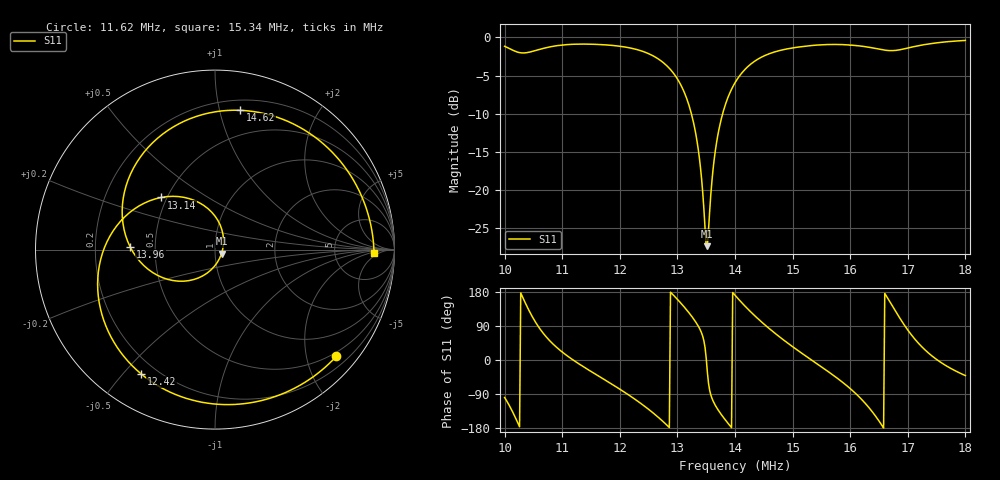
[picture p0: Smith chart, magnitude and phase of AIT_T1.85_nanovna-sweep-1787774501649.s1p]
! NanoVNA Web complex sweep
! Processing: original sample grid, no browser smoothing
# Hz S RI R 50
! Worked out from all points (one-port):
!   401 points, 10 MHz to 18 MHz, reference 50 ohm
!   lowest |S11| = -27.4 dB at 13.52 MHz (marker M1), VSWR 1.09, Z = 53.7 - j2.42 ohm
!   |S11| at or under -10 dB: 13.24 MHz to 13.79 MHz (543.1 kHz wide, 4.02 % of centre)
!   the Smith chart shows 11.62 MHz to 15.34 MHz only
!   S11 on the Smith chart (normalised r, x): 11.62 MHz: 0.41, -2.60; 12.42 MHz: 0.14, -0.56; 13.14 MHz: 0.46, +0.33; 13.96 MHz: 0.36, +0.02; 14.62 MHz: 0.28, +1.16; 15.34 MHz: 16, -3
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1e7  -0.1374 -0.8647
1.026e7  -0.7939 -0.0511
1.052e7  -0.1972 0.7935
1.076e7  0.4999 0.7041
1.1e7  0.8324 0.3206
1.162e7  0.6765 -0.5943
1.2e7  0.1978 -0.8533
1.242e7  -0.4124 -0.6919
1.272e7  -0.6501 -0.2608
1.3e7  -0.5026 0.1825
1.314e7  -0.3004 0.2903
1.334e7  -0.0184 0.2086
1.352e7  0.0363 -0.0225
1.37e7  -0.1461 -0.173
1.396e7  -0.4733 0.0164
1.4e7  -0.4982 0.0792
1.426e7  -0.4163 0.5152
1.462e7  0.141 0.776
1.5e7  0.6984 0.492
1.534e7  0.8861 -0.0198
1.566e7  0.7355 -0.5184
1.6e7  0.2251 -0.86
1.628e7  -0.4019 -0.7695
1.656e7  -0.8268 -0.0767
1.68e7  -0.4796 0.6696
1.7e7  0.162 0.8373
1.74e7  0.8874 0.2076
1.8e7  0.7199 -0.6292
